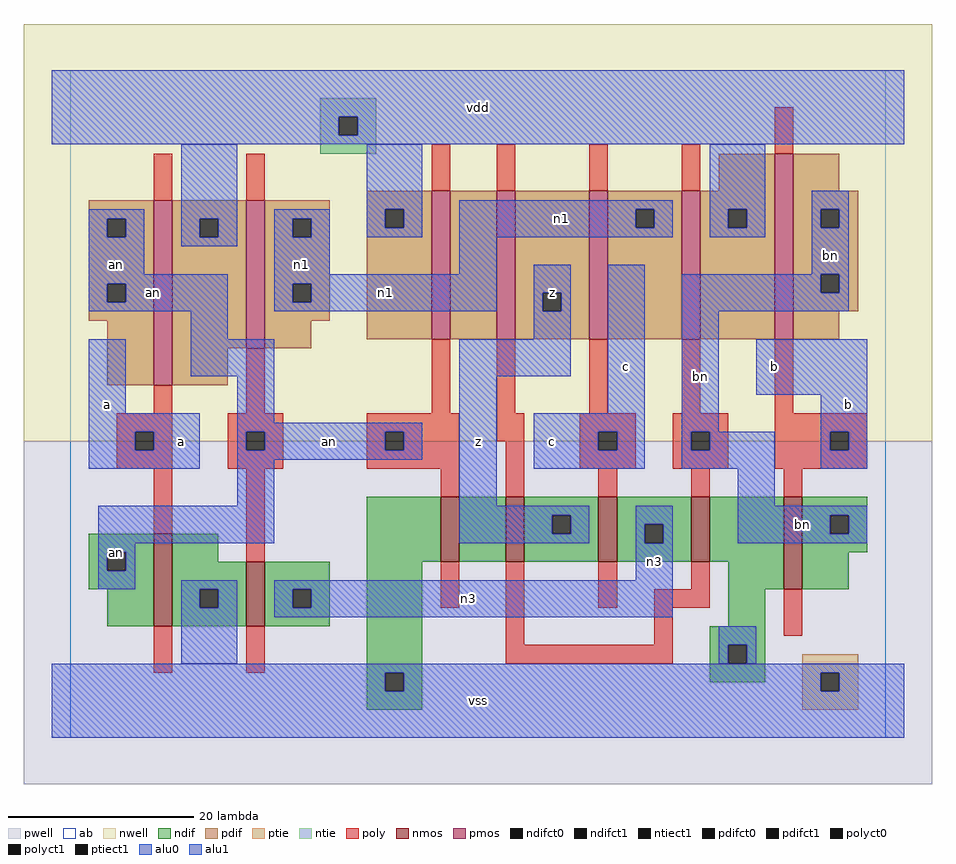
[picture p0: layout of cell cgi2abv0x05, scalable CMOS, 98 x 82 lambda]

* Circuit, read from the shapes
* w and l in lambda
.subckt cgi2abv0x05 a an b bn c n1 n3 vdd vss z
M1 vss a an vss nfet w=10 l=2
M2 n3 an vss vss nfet w=7 l=2
M3 n2 an vss vss nfet w=7 l=2
M4 z bn n2 vss nfet w=7 l=2
M5 n3 c z vss nfet w=7 l=2
M6 vss bn n3 vss nfet w=7 l=2
M7 bn b vss vss nfet w=10 l=2
M8 vdd a an vdd pfet w=20 l=2
M9 n1 an vdd vdd pfet w=16 l=2
M10 n4 an vdd vdd pfet w=16 l=2
M11 z bn n4 vdd pfet w=16 l=2
M12 n1 c z vdd pfet w=16 l=2
M13 vdd bn n1 vdd pfet w=16 l=2
M14 bn b vdd vdd pfet w=20 l=2
.ends

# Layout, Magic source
magic
tech scmos
<< ab >>
rect 0 0 88 72
<< nwell >>
rect -5 32 93 77
<< pwell >>
rect -5 -5 93 32
<< poly >>
rect 9 58 11 63
rect 19 58 21 63
rect 39 59 41 64
rect 46 59 48 64
rect 56 59 58 64
rect 66 59 68 64
rect 76 63 78 68
rect 9 35 11 38
rect 19 35 21 42
rect 39 35 41 43
rect 46 35 48 43
rect 56 35 58 43
rect 66 35 68 43
rect 76 35 78 43
rect 5 33 11 35
rect 5 31 7 33
rect 9 31 11 33
rect 5 29 11 31
rect 17 33 23 35
rect 17 31 19 33
rect 21 31 23 33
rect 17 29 23 31
rect 32 33 42 35
rect 32 31 34 33
rect 36 31 42 33
rect 46 32 49 35
rect 32 29 42 31
rect 9 22 11 29
rect 19 19 21 29
rect 40 26 42 29
rect 47 26 49 32
rect 55 33 61 35
rect 55 31 57 33
rect 59 31 61 33
rect 55 29 61 31
rect 65 33 71 35
rect 65 31 67 33
rect 69 31 71 33
rect 65 29 71 31
rect 76 33 86 35
rect 76 31 82 33
rect 84 31 86 33
rect 76 29 86 31
rect 57 26 59 29
rect 67 26 69 29
rect 77 26 79 29
rect 9 7 11 12
rect 19 7 21 12
rect 40 14 42 19
rect 47 10 49 19
rect 57 14 59 19
rect 67 16 69 19
rect 63 14 69 16
rect 63 10 65 14
rect 47 8 65 10
rect 77 11 79 16
<< ndif >>
rect 2 20 9 22
rect 2 18 4 20
rect 6 18 9 20
rect 2 16 9 18
rect 4 12 9 16
rect 11 19 16 22
rect 32 19 40 26
rect 42 19 47 26
rect 49 24 57 26
rect 49 22 52 24
rect 54 22 57 24
rect 49 19 57 22
rect 59 23 67 26
rect 59 21 62 23
rect 64 21 67 23
rect 59 19 67 21
rect 69 19 77 26
rect 11 16 19 19
rect 11 14 14 16
rect 16 14 19 16
rect 11 12 19 14
rect 21 16 28 19
rect 21 14 24 16
rect 26 14 28 16
rect 21 12 28 14
rect 32 7 38 19
rect 71 16 77 19
rect 79 24 86 26
rect 79 22 82 24
rect 84 22 86 24
rect 79 20 86 22
rect 79 16 84 20
rect 71 12 75 16
rect 69 10 75 12
rect 69 8 71 10
rect 73 8 75 10
rect 32 5 34 7
rect 36 5 38 7
rect 69 6 75 8
rect 32 3 38 5
<< pdif >>
rect 70 59 76 63
rect 2 56 9 58
rect 2 54 4 56
rect 6 54 9 56
rect 2 49 9 54
rect 2 47 4 49
rect 6 47 9 49
rect 2 45 9 47
rect 4 38 9 45
rect 11 56 19 58
rect 11 54 14 56
rect 16 54 19 56
rect 11 42 19 54
rect 21 56 28 58
rect 21 54 24 56
rect 26 54 28 56
rect 21 49 28 54
rect 21 47 24 49
rect 26 47 28 49
rect 21 45 28 47
rect 32 57 39 59
rect 32 55 34 57
rect 36 55 39 57
rect 21 42 26 45
rect 32 43 39 55
rect 41 43 46 59
rect 48 48 56 59
rect 48 46 51 48
rect 53 46 56 48
rect 48 43 56 46
rect 58 57 66 59
rect 58 55 61 57
rect 63 55 66 57
rect 58 43 66 55
rect 68 57 76 59
rect 68 55 71 57
rect 73 55 76 57
rect 68 43 76 55
rect 78 59 83 63
rect 78 57 85 59
rect 78 55 81 57
rect 83 55 85 57
rect 78 50 85 55
rect 78 48 81 50
rect 83 48 85 50
rect 78 46 85 48
rect 78 43 83 46
rect 11 38 17 42
<< alu1 >>
rect -2 67 90 72
rect -2 65 29 67
rect 31 65 90 67
rect -2 64 90 65
rect 50 48 54 51
rect 50 46 51 48
rect 53 46 54 48
rect 50 43 54 46
rect 2 35 6 43
rect 2 33 14 35
rect 2 31 7 33
rect 9 31 14 33
rect 2 29 14 31
rect 42 39 54 43
rect 42 25 46 39
rect 58 35 62 51
rect 50 33 62 35
rect 50 31 57 33
rect 59 31 62 33
rect 50 29 62 31
rect 74 37 86 43
rect 81 33 86 37
rect 81 31 82 33
rect 84 31 86 33
rect 81 29 86 31
rect 42 24 56 25
rect 42 22 52 24
rect 54 22 56 24
rect 42 21 56 22
rect -2 7 90 8
rect -2 5 34 7
rect 36 5 81 7
rect 83 5 90 7
rect -2 0 90 5
<< ptie >>
rect 79 7 85 9
rect 79 5 81 7
rect 83 5 85 7
rect 79 3 85 5
<< ntie >>
rect 27 67 33 69
rect 27 65 29 67
rect 31 65 33 67
rect 27 63 33 65
<< nmos >>
rect 9 12 11 22
rect 40 19 42 26
rect 47 19 49 26
rect 57 19 59 26
rect 67 19 69 26
rect 19 12 21 19
rect 77 16 79 26
<< pmos >>
rect 9 38 11 58
rect 19 42 21 58
rect 39 43 41 59
rect 46 43 48 59
rect 56 43 58 59
rect 66 43 68 59
rect 76 43 78 63
<< polyct0 >>
rect 19 31 21 33
rect 34 31 36 33
rect 67 31 69 33
<< polyct1 >>
rect 7 31 9 33
rect 57 31 59 33
rect 82 31 84 33
<< ndifct0 >>
rect 4 18 6 20
rect 62 21 64 23
rect 14 14 16 16
rect 24 14 26 16
rect 82 22 84 24
rect 71 8 73 10
<< ndifct1 >>
rect 52 22 54 24
rect 34 5 36 7
<< ntiect1 >>
rect 29 65 31 67
<< ptiect1 >>
rect 81 5 83 7
<< pdifct0 >>
rect 4 54 6 56
rect 4 47 6 49
rect 14 54 16 56
rect 24 54 26 56
rect 24 47 26 49
rect 34 55 36 57
rect 61 55 63 57
rect 71 55 73 57
rect 81 55 83 57
rect 81 48 83 50
<< pdifct1 >>
rect 51 46 53 48
<< alu0 >>
rect 2 56 8 57
rect 2 54 4 56
rect 6 54 8 56
rect 2 50 8 54
rect 12 56 18 64
rect 32 57 38 64
rect 12 54 14 56
rect 16 54 18 56
rect 12 53 18 54
rect 22 56 28 57
rect 22 54 24 56
rect 26 54 28 56
rect 32 55 34 57
rect 36 55 38 57
rect 32 54 38 55
rect 42 57 65 58
rect 42 55 61 57
rect 63 55 65 57
rect 42 54 65 55
rect 69 57 75 64
rect 69 55 71 57
rect 73 55 75 57
rect 69 54 75 55
rect 80 57 84 59
rect 80 55 81 57
rect 83 55 84 57
rect 22 50 28 54
rect 42 50 46 54
rect 2 49 17 50
rect 2 47 4 49
rect 6 47 17 49
rect 2 46 17 47
rect 22 49 46 50
rect 22 47 24 49
rect 26 47 46 49
rect 22 46 46 47
rect 13 43 17 46
rect 13 39 22 43
rect 18 34 22 39
rect 18 33 38 34
rect 18 31 19 33
rect 21 31 34 33
rect 36 31 38 33
rect 18 30 38 31
rect 18 25 22 30
rect 3 21 22 25
rect 80 50 84 55
rect 66 48 81 50
rect 83 48 84 50
rect 66 46 84 48
rect 66 33 70 46
rect 66 31 67 33
rect 69 31 76 33
rect 66 29 76 31
rect 72 25 76 29
rect 61 23 65 25
rect 61 21 62 23
rect 64 21 65 23
rect 72 24 86 25
rect 72 22 82 24
rect 84 22 86 24
rect 72 21 86 22
rect 3 20 7 21
rect 3 18 4 20
rect 6 18 7 20
rect 3 16 7 18
rect 61 17 65 21
rect 12 16 18 17
rect 12 14 14 16
rect 16 14 18 16
rect 12 8 18 14
rect 22 16 65 17
rect 22 14 24 16
rect 26 14 65 16
rect 22 13 65 14
rect 70 10 74 12
rect 70 8 71 10
rect 73 8 74 10
<< labels >>
rlabel alu0 5 20 5 20 6 an
rlabel alu0 9 48 9 48 6 an
rlabel alu0 5 51 5 51 6 an
rlabel alu0 28 32 28 32 6 an
rlabel alu0 25 51 25 51 6 n1
rlabel alu0 43 15 43 15 6 n3
rlabel alu0 63 19 63 19 6 n3
rlabel alu0 34 48 34 48 6 n1
rlabel alu0 53 56 53 56 6 n1
rlabel alu0 79 23 79 23 6 bn
rlabel alu0 68 39 68 39 6 bn
rlabel alu0 82 52 82 52 6 bn
rlabel alu1 12 32 12 32 6 a
rlabel alu1 4 36 4 36 6 a
rlabel alu1 44 4 44 4 6 vss
rlabel alu1 44 32 44 32 6 z
rlabel alu1 52 32 52 32 6 c
rlabel alu1 60 40 60 40 6 c
rlabel alu1 52 48 52 48 6 z
rlabel alu1 44 68 44 68 6 vdd
rlabel alu1 76 40 76 40 6 b
rlabel alu1 84 36 84 36 6 b
<< end >>
